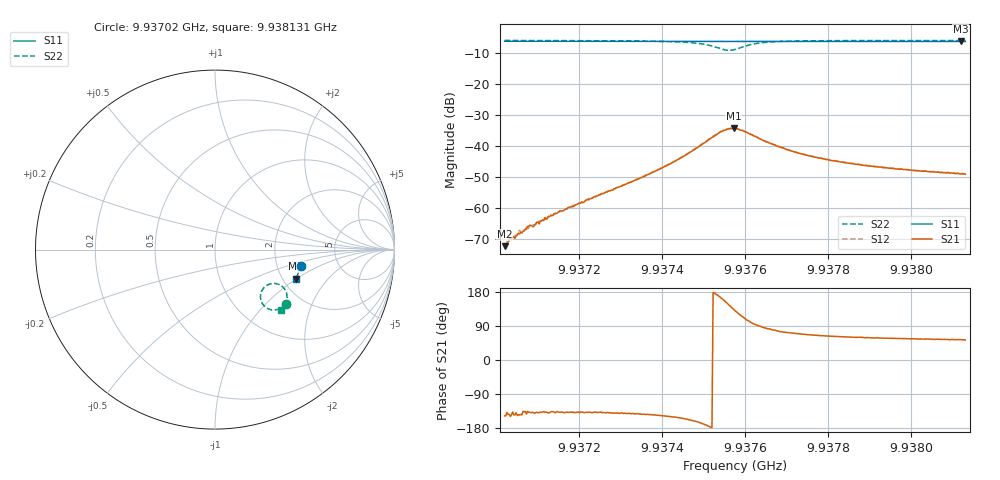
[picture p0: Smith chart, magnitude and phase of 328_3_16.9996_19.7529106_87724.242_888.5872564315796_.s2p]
#  HZ  S  RI  R  50.00
! Rohde & Schwarz Vector Network Analyzer
! Rohde-Schwarz,ZNB20-2Port,1311601062101988,3.16
! Created: UTC 3/20/2024, 11:06:48 PM
! freq[Hz]  re:S11  im:S11  re:S21  im:S21  re:S12  im:S12  re:S22  im:S22
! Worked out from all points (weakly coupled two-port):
!   401 points, 9.93702 GHz to 9.938131 GHz, reference 50 ohm
!   highest |S21| = -34.33 dB at 9.937573 GHz (marker M1); lowest = -72.2 dB at 9.93702 GHz (marker M2)
!   lowest |S11| = -6.4 dB at 9.93812 GHz (marker M3), VSWR 2.85, Z = 118 - j49.4 ohm
!   |S11| at or under -10 dB: nowhere
!   |S22| runs from -9.2 to -6.0 dB; largest |S21 - S12| = 0.00081
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9.93702e9  0.4764 -0.0894  -0.000207 -0.000131  -0.000213 -0.000149  0.3976 -0.3009
9.9370367e9  0.476 -0.0906  -0.000271 -0.000191  -0.000245 -0.000187  0.3966 -0.3019
9.9370617e9  0.4755 -0.0922  -0.000326 -0.000233  -0.000335 -0.000226  0.3949 -0.3039
9.9370783e9  0.4753 -0.0934  -0.000383 -0.000344  -0.000365 -0.000323  0.3937 -0.3052
9.9370895e9  0.475 -0.0941  -0.000379 -0.000328  -0.000408 -0.000356  0.3927 -0.3058
9.9371283e9  0.4745 -0.0968  -0.00055 -0.000486  -0.000561 -0.000485  0.3898 -0.3086
9.9372061e9  0.4729 -0.102  -0.000933 -0.000855  -0.000953 -0.000828  0.3829 -0.3148
9.9373255e9  0.4704 -0.1102  -0.00208 -0.00164  -0.00208 -0.00164  0.3672 -0.3258
9.9373922e9  0.4691 -0.1146  -0.0035 -0.00235  -0.00359 -0.00231  0.3514 -0.3327
9.9374478e9  0.4677 -0.1184  -0.00594 -0.00292  -0.00607 -0.00289  0.3286 -0.3363
9.9375033e9  0.4658 -0.1221  -0.0113 -0.00188  -0.0116 -0.00168  0.2845 -0.3224
9.9375478e9  0.4641 -0.1242  -0.0166 0.00639  -0.0166 0.00704  0.2543 -0.2494
9.9375728e9  0.4637 -0.1247  -0.0132 0.0139  -0.0127 0.0145  0.2926 -0.197
9.9375755e9  0.4637 -0.125  -0.0123 0.0146  -0.0122 0.015  0.2994 -0.1938
9.9375978e9  0.4639 -0.126  -0.00615 0.0161  -0.00568 0.0165  0.3506 -0.1922
9.9376339e9  0.4638 -0.1286  5.9e-05 0.0131  0.000436 0.0133  0.3921 -0.2263
9.937695e9  0.463 -0.133  0.00259 0.00872  0.00276 0.00877  0.4015 -0.269
9.9377616e9  0.4614 -0.1377  0.00278 0.00619  0.00291 0.00621  0.3966 -0.292
9.937845e9  0.4594 -0.1432  0.00262 0.00466  0.00269 0.0047  0.3889 -0.3076
9.9379477e9  0.4568 -0.15  0.00237 0.00373  0.00247 0.00371  0.3805 -0.3198
9.9381199e9  0.4523 -0.161  0.0021 0.00288  0.00222 0.00289  0.3686 -0.3339
9.9381311e9  0.4521 -0.1618  0.00214 0.00281  0.00217 0.00285  0.3679 -0.3346
